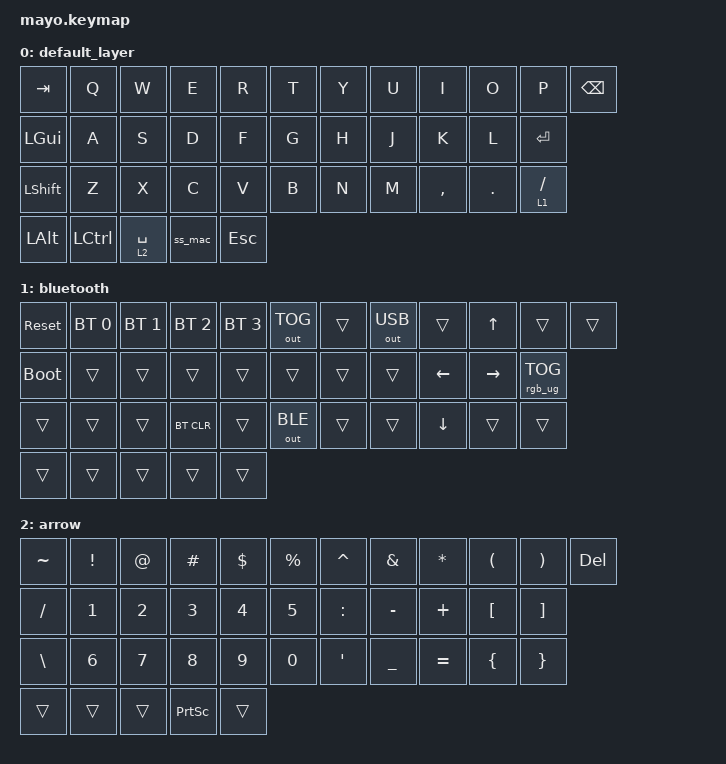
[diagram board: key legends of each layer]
/*
 * Copyright (c) 2021 Nick Winans
 *
 * SPDX-License-Identifier: MIT
 */

#include <behaviors.dtsi>
#include <dt-bindings/zmk/bt.h>
#include <dt-bindings/zmk/keys.h>
#include <dt-bindings/zmk/outputs.h>
#include <dt-bindings/zmk/rgb.h>

/ {
    macros {
        ss_mac: ss_mac {
            compatible = "zmk,behavior-macro";
            label = "SS_MAC";
            #binding-cells = <0>;
            bindings =
                <&macro_press>,
                <&kp LEFT_GUI>,
                <&macro_press>,
                <&kp LEFT_SHIFT>,
                <&macro_tap>,
                <&kp NUMBER_4>,
                <&macro_release>,
                <&kp LEFT_SHIFT>,
                <&macro_release>,
                <&kp LEFT_GUI>;
        };
    };

    keymap {
        compatible = "zmk,keymap";

        default_layer {
            bindings = <
  &kp TAB             &kp Q        &kp W    &kp E       &kp R  &kp T  &kp Y  &kp U      &kp I    &kp O        &kp P  &kp BACKSPACE
 &kp LGUI             &kp A        &kp S    &kp D       &kp F  &kp G  &kp H  &kp J      &kp K    &kp L      &kp RET
&kp LSHFT             &kp Z        &kp X    &kp C       &kp V  &kp B  &kp N  &kp M  &kp COMMA  &kp DOT  &lt 1 SLASH
 &kp LALT  &kp LEFT_CONTROL  &lt 2 SPACE  &ss_mac  &kp ESCAPE
            >;
        };

        bluetooth {
            bindings = <
 &sys_reset  &bt BT_SEL 0  &bt BT_SEL 1  &bt BT_SEL 2  &bt BT_SEL 3  &out OUT_TOG  &trans  &out OUT_USB          &trans  &kp UP_ARROW           &trans  &trans
&bootloader        &trans        &trans        &trans        &trans        &trans  &trans        &trans  &kp LEFT_ARROW     &kp RIGHT  &rgb_ug RGB_TOG
     &trans        &trans        &trans    &bt BT_CLR        &trans  &out OUT_BLE  &trans        &trans        &kp DOWN        &trans           &trans
     &trans        &trans        &trans        &trans        &trans
            >;
        };

        arrow {
            bindings = <
    &kp TILDE      &kp EXCL        &kp AT         &kp HASH    &kp DOLLAR   &kp PERCENT  &kp CARET   &kp AMPS  &kp ASTERISK  &kp LEFT_PARENTHESIS  &kp RIGHT_PARENTHESIS  &kp DEL
    &kp SLASH  &kp NUMBER_1  &kp NUMBER_2     &kp NUMBER_3  &kp NUMBER_4  &kp NUMBER_5  &kp COLON  &kp MINUS      &kp PLUS      &kp LEFT_BRACKET      &kp RIGHT_BRACKET
&kp BACKSLASH  &kp NUMBER_6  &kp NUMBER_7     &kp NUMBER_8  &kp NUMBER_9  &kp NUMBER_0   &kp APOS  &kp UNDER     &kp EQUAL        &kp LEFT_BRACE        &kp RIGHT_BRACE
       &trans        &trans        &trans  &kp PRINTSCREEN        &trans
            >;
        };
    };
};
